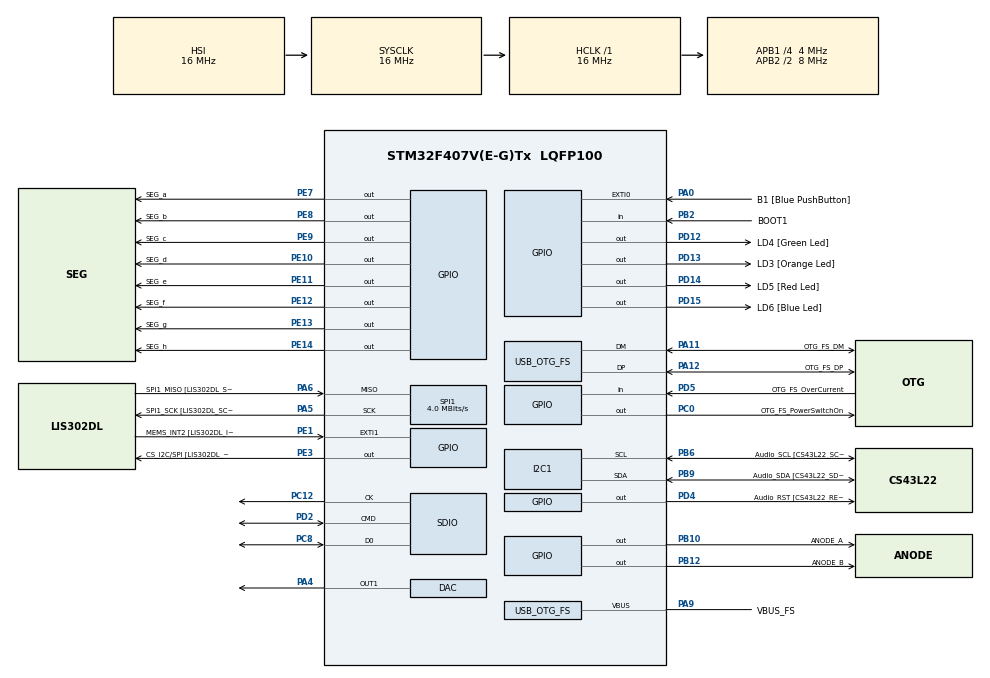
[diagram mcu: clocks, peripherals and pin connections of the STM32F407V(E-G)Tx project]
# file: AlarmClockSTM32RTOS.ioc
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DAC.DAC_Trigger=DAC_TRIGGER_T6_TRGO
Dma.DAC1.0.Direction=DMA_MEMORY_TO_PERIPH
Dma.DAC1.0.FIFOMode=DMA_FIFOMODE_DISABLE
Dma.DAC1.0.Instance=DMA1_Stream5
Dma.DAC1.0.MemDataAlignment=DMA_MDATAALIGN_HALFWORD
Dma.DAC1.0.MemInc=DMA_MINC_ENABLE
Dma.DAC1.0.Mode=DMA_CIRCULAR
Dma.DAC1.0.PeriphDataAlignment=DMA_PDATAALIGN_HALFWORD
Dma.DAC1.0.PeriphInc=DMA_PINC_DISABLE
Dma.DAC1.0.Priority=DMA_PRIORITY_LOW
Dma.Request0=DAC1
FREERTOS.Tasks01=defaultTask,0,128,StartDefaultTask,Default,NULL
FREERTOS.configUSE_TIMERS=1
Mcu.Family=STM32F4
Mcu.Name=STM32F407V(E-G)Tx
Mcu.Package=LQFP100
NVIC.DMA1_Stream5_IRQn=true\:5\:0\:false\:false\:true\:true\:false
NVIC.OTG_FS_IRQn=true\:5\:0\:false\:false\:true\:true\:true
NVIC.PriorityGroup=NVIC_PRIORITYGROUP_4
NVIC.TIM1_UP_TIM10_IRQn=true\:0\:0\:false\:false\:true\:false\:false
NVIC.TimeBase=TIM1_UP_TIM10_IRQn
NVIC.TimeBaseIP=TIM1
PA0-WKUP.GPIO_Label=B1 [Blue PushButton]
PA0-WKUP.GPIO_ModeDefaultEXTI=GPIO_MODE_EVT_RISING
PA0-WKUP.GPIO_PuPd=GPIO_NOPULL
PA0-WKUP.Signal=GPXTI0
PA10.GPIO_Label=OTG_FS_ID
PA10.GPIO_Mode=GPIO_MODE_AF_PP
PA10.GPIO_PuPd=GPIO_NOPULL
PA10.GPIO_Speed=GPIO_SPEED_FREQ_LOW
PA10.Signal=USB_OTG_FS_ID
PA11.GPIO_Label=OTG_FS_DM
PA11.GPIO_Mode=GPIO_MODE_AF_PP
PA11.GPIO_PuPd=GPIO_NOPULL
PA11.GPIO_Speed=GPIO_SPEED_FREQ_LOW
PA11.Mode=Host_Only
PA11.Signal=USB_OTG_FS_DM
PA12.GPIO_Label=OTG_FS_DP
PA12.GPIO_Mode=GPIO_MODE_AF_PP
PA12.GPIO_PuPd=GPIO_NOPULL
PA12.GPIO_Speed=GPIO_SPEED_FREQ_LOW
PA12.Mode=Host_Only
PA12.Signal=USB_OTG_FS_DP
PA13.GPIO_Label=SWDIO
PA13.Mode=Serial_Wire
PA13.Signal=SYS_JTMS-SWDIO
PA14.GPIO_Label=SWCLK
PA14.Mode=Serial_Wire
PA14.Signal=SYS_JTCK-SWCLK
PA4.Signal=SharedAnalog_PA4
PA5.GPIO_Label=SPI1_SCK [LIS302DL_SCL/SPC]
PA5.GPIO_Mode=GPIO_MODE_AF_PP
PA5.GPIO_PuPd=GPIO_NOPULL
PA5.GPIO_Speed=GPIO_SPEED_FREQ_LOW
PA5.Mode=RX_Only_Simplex_Unidirect_Master
PA5.Signal=SPI1_SCK
PA6.GPIO_Label=SPI1_MISO [LIS302DL_SDO]
PA6.GPIO_Mode=GPIO_MODE_AF_PP
PA6.GPIO_PuPd=GPIO_NOPULL
PA6.GPIO_Speed=GPIO_SPEED_FREQ_LOW
PA6.Mode=RX_Only_Simplex_Unidirect_Master
PA6.Signal=SPI1_MISO
PA7.GPIO_Label=SPI1_MOSI [LIS302DL_SDA/SDI/SDO]
PA7.GPIO_Mode=GPIO_MODE_AF_PP
PA7.GPIO_PuPd=GPIO_NOPULL
PA7.GPIO_Speed=GPIO_SPEED_FREQ_LOW
PA7.Signal=SPI1_MOSI
PA9.GPIO_Label=VBUS_FS
PA9.GPIO_Mode=GPIO_MODE_INPUT
PA9.GPIO_PuPd=GPIO_NOPULL
PA9.Mode=Activate_VBUS
PA9.Signal=USB_OTG_FS_VBUS
PB10.GPIO_Label=ANODE_A
PB10.Signal=GPIO_Output
PB12.GPIO_Label=ANODE_B
PB12.Signal=GPIO_Output
PB2.GPIO_Label=BOOT1
PB2.GPIO_Mode=GPIO_MODE_INPUT
PB2.GPIO_PuPd=GPIO_NOPULL
PB2.Signal=GPIO_Input
PB3.GPIO_Label=SWO
PB3.Signal=SYS_JTDO-SWO
PB6.GPIO_Label=Audio_SCL [CS43L22_SCL]
PB6.GPIO_Mode=GPIO_MODE_AF_OD
PB6.GPIO_PuPd=GPIO_NOPULL
PB6.GPIO_Speed=GPIO_SPEED_FREQ_LOW
PB6.Mode=I2C
PB6.Signal=I2C1_SCL
PB9.GPIO_Label=Audio_SDA [CS43L22_SDA]
PB9.GPIO_Mode=GPIO_MODE_AF_OD
PB9.GPIO_PuPd=GPIO_NOPULL
PB9.GPIO_Speed=GPIO_SPEED_FREQ_LOW
PB9.Mode=I2C
PB9.Signal=I2C1_SDA
PC0.GPIO_Label=OTG_FS_PowerSwitchOn
PC0.GPIO_PuPd=GPIO_NOPULL
PC0.GPIO_Speed=GPIO_SPEED_FREQ_LOW
PC0.PinState=GPIO_PIN_SET
PC0.Signal=GPIO_Output
PC12.Mode=SD_1_bit
PC12.Signal=SDIO_CK
PC3.GPIO_Label=PDM_OUT [MP45DT02_DOUT]
PC3.GPIO_Mode=GPIO_MODE_AF_PP
PC3.GPIO_PuPd=GPIO_NOPULL
PC3.GPIO_Speed=GPIO_SPEED_FREQ_LOW
PC3.Signal=I2S2_SD
PC7.GPIO_Label=I2S3_MCK [CS43L22_MCLK]
PC7.GPIO_Mode=GPIO_MODE_AF_PP
PC7.GPIO_PuPd=GPIO_NOPULL
PC7.GPIO_Speed=GPIO_SPEED_FREQ_LOW
PC7.Signal=I2S3_MCK
PC8.Mode=SD_1_bit
PC8.Signal=SDIO_D0
PD12.GPIO_Label=LD4 [Green Led]
PD12.GPIO_PuPd=GPIO_NOPULL
PD12.GPIO_Speed=GPIO_SPEED_FREQ_LOW
PD12.Signal=GPIO_Output
PD13.GPIO_Label=LD3 [Orange Led]
PD13.GPIO_PuPd=GPIO_NOPULL
PD13.GPIO_Speed=GPIO_SPEED_FREQ_LOW
PD13.Signal=GPIO_Output
PD14.GPIO_Label=LD5 [Red Led]
PD14.GPIO_PuPd=GPIO_NOPULL
PD14.GPIO_Speed=GPIO_SPEED_FREQ_LOW
PD14.Signal=GPIO_Output
PD15.GPIO_Label=LD6 [Blue Led]
PD15.GPIO_PuPd=GPIO_NOPULL
PD15.GPIO_Speed=GPIO_SPEED_FREQ_LOW
PD15.Signal=GPIO_Output
PD2.Mode=SD_1_bit
PD2.Signal=SDIO_CMD
PD4.GPIO_Label=Audio_RST [CS43L22_RESET]
PD4.GPIO_PuPd=GPIO_NOPULL
PD4.GPIO_Speed=GPIO_SPEED_FREQ_LOW
PD4.Signal=GPIO_Output
PD5.GPIO_Label=OTG_FS_OverCurrent
PD5.GPIO_Mode=GPIO_MODE_INPUT
PD5.GPIO_PuPd=GPIO_NOPULL
PD5.Signal=GPIO_Input
PE1.GPIO_Label=MEMS_INT2 [LIS302DL_INT2]
PE1.GPIO_ModeDefaultEXTI=GPIO_MODE_EVT_RISING
PE1.GPIO_PuPd=GPIO_NOPULL
PE1.Signal=GPXTI1
PE10.GPIO_Label=SEG_d
PE10.Signal=GPIO_Output
PE11.GPIO_Label=SEG_e
PE11.Signal=GPIO_Output
PE12.GPIO_Label=SEG_f
PE12.Signal=GPIO_Output
PE13.GPIO_Label=SEG_g
PE13.Signal=GPIO_Output
PE14.GPIO_Label=SEG_h
PE14.Signal=GPIO_Output
PE3.GPIO_Label=CS_I2C/SPI [LIS302DL_CS_I2C/SPI]
PE3.GPIO_PuPd=GPIO_NOPULL
PE3.GPIO_Speed=GPIO_SPEED_FREQ_LOW
PE3.Signal=GPIO_Output
PE7.GPIO_Label=SEG_a
PE7.Signal=GPIO_Output
PE8.GPIO_Label=SEG_b
PE8.Signal=GPIO_Output
PE9.GPIO_Label=SEG_c
PE9.Signal=GPIO_Output
PH0-OSC_IN.Mode=HSE-External-Oscillator
PH0-OSC_IN.Signal=RCC_OSC_IN
PH1-OSC_OUT.GPIO_Label=PH1-OSC_OUT
PH1-OSC_OUT.Mode=HSE-External-Oscillator
PH1-OSC_OUT.Signal=RCC_OSC_OUT
ProjectManager.HeapSize=0x200
ProjectManager.StackSize=0x400
ProjectManager.TargetToolchain=TrueSTUDIO
RCC.48MHZClocksFreq_Value=48000000
RCC.AHBFreq_Value=16000000
RCC.APB1CLKDivider=RCC_HCLK_DIV4
RCC.APB1Freq_Value=4000000
RCC.APB1TimFreq_Value=8000000
RCC.APB2CLKDivider=RCC_HCLK_DIV2
RCC.APB2Freq_Value=8000000
RCC.APB2TimFreq_Value=16000000
RCC.CortexFreq_Value=16000000
RCC.HCLKFreq_Value=16000000
RCC.HSE_VALUE=8000000
RCC.HSI_VALUE=16000000
RCC.LSE_VALUE=32768
RCC.PLLM=4
RCC.PLLN=72
RCC.PLLQ=3
RCC.SYSCLKFreq_VALUE=16000000
RCC.VCOOutputFreq_Value=144000000
SH.SharedAnalog_PA4.0=GPIO_Analog
SH.SharedAnalog_PA4.1=DAC_OUT1,DAC_OUT1
SPI1.BaudRatePrescaler=SPI_BAUDRATEPRESCALER_2
SPI1.CalculateBaudRate=4.0 MBits/s
SPI1.Direction=SPI_DIRECTION_2LINES_RXONLY
SPI1.Mode=SPI_MODE_MASTER
SPI1.VirtualType=VM_MASTER
TIM6.Period=32768
TIM6.TIM_MasterOutputTrigger=TIM_TRGO_UPDATE
USB_HOST.BSP.number=1
USB_HOST.USBH_HandleTypeDef-MSC_FS=hUsbHostFS
USB_HOST.VirtualModeFS=Msc
USB_HOST0.BSP.STBoard=false
USB_HOST0.BSP.api=UnknownBspDriver
USB_HOST0.BSP.i2caddr=0
USB_HOST0.BSP.i2creg=0
USB_HOST0.BSP.instance=PC0
USB_HOST0.BSP.ip=GPIO
USB_HOST0.BSP.mode=Output
USB_HOST0.BSP.name=Drive_VBUS_FS
USB_HOST0.BSP.solution=PC0
USB_OTG_FS.VirtualMode=Host_Only
USB_OTG_FS.phy_itface=HCD_PHY_EMBEDDED
VP_FATFS_VS_SDIO.Mode=SDIO
VP_FATFS_VS_USB.Mode=USB
VP_FREERTOS_VS_ENABLE.Mode=Enabled
VP_RTC_VS_RTC_Activate.Mode=RTC_Enabled
VP_SYS_VS_tim1.Mode=TIM1
VP_TIM6_VS_ClockSourceINT.Mode=Enable_Timer
VP_USB_HOST_VS_USB_HOST_MSC_FS.Mode=MSC_FS
board=STM32F4DISCOVERY

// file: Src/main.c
/**
  ******************************************************************************
  * @file           : main.c
  * @brief          : Main program body
  ******************************************************************************
  * This notice applies to any and all portions of this file
  * that are not between comment pairs USER CODE BEGIN and
  * USER CODE END. Other portions of this file, whether
  * inserted by the user or by software development tools
  * are owned by their respective copyright owners.
  *
  * Copyright (c) 2018 STMicroelectronics International N.V.
  * All rights reserved.
  *
  * Redistribution and use in source and binary forms, with or without
  * modification, are permitted, provided that the following conditions are met:
  *
  * 1. Redistribution of source code must retain the above copyright notice,
  *    this list of conditions and the following disclaimer.
  * 2. Redistributions in binary form must reproduce the above copyright notice,
  *    this list of conditions and the following disclaimer in the documentation
  *    and/or other materials provided with the distribution.
  * 3. Neither the name of STMicroelectronics nor the names of other
  *    contributors to this software may be used to endorse or promote products
  *    derived from this software without specific written permission.
  * 4. This software, including modifications and/or derivative works of this
  *    software, must execute solely and exclusively on microcontroller or
  *    microprocessor devices manufactured by or for STMicroelectronics.
  * 5. Redistribution and use of this software other than as permitted under
  *    this license is void and will automatically terminate your rights under
  *    this license.
  *
  * THIS SOFTWARE IS PROVIDED BY STMICROELECTRONICS AND CONTRIBUTORS "AS IS"
  * AND ANY EXPRESS, IMPLIED OR STATUTORY WARRANTIES, INCLUDING, BUT NOT
  * LIMITED TO, THE IMPLIED WARRANTIES OF MERCHANTABILITY, FITNESS FOR A
  * PARTICULAR PURPOSE AND NON-INFRINGEMENT OF THIRD PARTY INTELLECTUAL PROPERTY
  * RIGHTS ARE DISCLAIMED TO THE FULLEST EXTENT PERMITTED BY LAW. IN NO EVENT
  * SHALL STMICROELECTRONICS OR CONTRIBUTORS BE LIABLE FOR ANY DIRECT, INDIRECT,
  * INCIDENTAL, SPECIAL, EXEMPLARY, OR CONSEQUENTIAL DAMAGES (INCLUDING, BUT NOT
  * LIMITED TO, PROCUREMENT OF SUBSTITUTE GOODS OR SERVICES; LOSS OF USE, DATA,
  * OR PROFITS; OR BUSINESS INTERRUPTION) HOWEVER CAUSED AND ON ANY THEORY OF
  * LIABILITY, WHETHER IN CONTRACT, STRICT LIABILITY, OR TORT (INCLUDING
  * NEGLIGENCE OR OTHERWISE) ARISING IN ANY WAY OUT OF THE USE OF THIS SOFTWARE,
  * EVEN IF ADVISED OF THE POSSIBILITY OF SUCH DAMAGE.
  *
  ******************************************************************************
  */
#include "main.h"
#include "stm32f4xx_hal.h"
#include "cmsis_os.h"
#include "fatfs.h"
#include "usb_host.h"

DAC_HandleTypeDef hdac;
DMA_HandleTypeDef hdma_dac1;

I2C_HandleTypeDef hi2c1;

RTC_HandleTypeDef hrtc;

SD_HandleTypeDef hsd;

SPI_HandleTypeDef hspi1;

TIM_HandleTypeDef htim6;

osThreadId defaultTaskHandle;

/* USER CODE BEGIN PV */
/* Private variables ---------------------------------------------------------*/
const uint16_t sine_wave_array[32] = {2047, 1648, 1264, 910, 600,  345,
                    156, 39,  0,  39,  156,  345,
                    600, 910, 1264, 1648, 2048, 2447,
                    2831, 3185, 3495, 3750, 3939, 4056,
                    4095, 4056, 3939, 3750, 3495, 3185,
                    2831, 2447};
/* USER CODE END PV */

void SystemClock_Config(void);
static void MX_GPIO_Init(void);
static void MX_DMA_Init(void);
static void MX_I2C1_Init(void);
static void MX_RTC_Init(void);
static void MX_SPI1_Init(void);
static void MX_SDIO_SD_Init(void);
static void MX_DAC_Init(void);
static void MX_TIM6_Init(void);
void StartDefaultTask(void const * argument);

/* USER CODE BEGIN PFP */
void soundTest(void *pvParameters);

/* Private function prototypes -----------------------------------------------*/

/* USER CODE END PFP */

int main(void)
{

  /* MCU Configuration----------------------------------------------------------*/

  /* Reset of all peripherals, Initializes the Flash interface and the Systick. */
  HAL_Init();

  /* Configure the system clock */
  SystemClock_Config();

  /* Initialize all configured peripherals */
  MX_GPIO_Init();
  MX_DMA_Init();
  MX_I2C1_Init();
  MX_RTC_Init();
  MX_SPI1_Init();
  MX_SDIO_SD_Init();
  MX_TIM6_Init();
  MX_DAC_Init();
  /* USER CODE BEGIN 2 */

  xTaskCreate(soundTest,(const char* const) "sound test",1024,0,1,0);
  HAL_TIM_Base_Start(&htim6); // setup the timer 6 base
  HAL_DAC_Start(&hdac,DAC_CHANNEL_1); // setup the DAC on channel 1 (PA4)
  HAL_DAC_Start_DMA(&hdac, DAC_CHANNEL_1, (uint32_t*) sine_wave_array, 32, DAC_ALIGN_12B_R);
  /* USER CODE END 2 */

  /* Create the thread(s) */
  /* definition and creation of defaultTask */
  osThreadDef(defaultTask, StartDefaultTask, osPriorityNormal, 0, 128);
  defaultTaskHandle = osThreadCreate(osThread(defaultTask), NULL);

  /* Start scheduler */
  osKernelStart();

  /* We should never get here as control is now taken by the scheduler */

  /* Infinite loop */
  while (1)
  {

  }

}

void SystemClock_Config(void)
{

  RCC_OscInitTypeDef RCC_OscInitStruct;
  RCC_ClkInitTypeDef RCC_ClkInitStruct;
  RCC_PeriphCLKInitTypeDef PeriphClkInitStruct;

    /**Configure the main internal regulator output voltage
    */
  __HAL_RCC_PWR_CLK_ENABLE();

  __HAL_PWR_VOLTAGESCALING_CONFIG(PWR_REGULATOR_VOLTAGE_SCALE1);

    /**Initializes the CPU, AHB and APB busses clocks
    */
  RCC_OscInitStruct.OscillatorType = RCC_OSCILLATORTYPE_HSI|RCC_OSCILLATORTYPE_LSI
                              |RCC_OSCILLATORTYPE_HSE;
  RCC_OscInitStruct.HSEState = RCC_HSE_ON;
  RCC_OscInitStruct.HSIState = RCC_HSI_ON;
  RCC_OscInitStruct.HSICalibrationValue = 16;
  RCC_OscInitStruct.LSIState = RCC_LSI_ON;
  RCC_OscInitStruct.PLL.PLLState = RCC_PLL_ON;
  RCC_OscInitStruct.PLL.PLLSource = RCC_PLLSOURCE_HSE;
  RCC_OscInitStruct.PLL.PLLM = 4;
  RCC_OscInitStruct.PLL.PLLN = 72;
  RCC_OscInitStruct.PLL.PLLP = RCC_PLLP_DIV2;
  RCC_OscInitStruct.PLL.PLLQ = 3;
  if (HAL_RCC_OscConfig(&RCC_OscInitStruct) != HAL_OK)
  {
    _Error_Handler(__FILE__, __LINE__);
  }

    /**Initializes the CPU, AHB and APB busses clocks
    */
  RCC_ClkInitStruct.ClockType = RCC_CLOCKTYPE_HCLK|RCC_CLOCKTYPE_SYSCLK
                              |RCC_CLOCKTYPE_PCLK1|RCC_CLOCKTYPE_PCLK2;
  RCC_ClkInitStruct.SYSCLKSource = RCC_SYSCLKSOURCE_HSI;
  RCC_ClkInitStruct.AHBCLKDivider = RCC_SYSCLK_DIV1;
  RCC_ClkInitStruct.APB1CLKDivider = RCC_HCLK_DIV4;
  RCC_ClkInitStruct.APB2CLKDivider = RCC_HCLK_DIV2;

  if (HAL_RCC_ClockConfig(&RCC_ClkInitStruct, FLASH_LATENCY_0) != HAL_OK)
  {
    _Error_Handler(__FILE__, __LINE__);
  }

  PeriphClkInitStruct.PeriphClockSelection = RCC_PERIPHCLK_RTC;
  PeriphClkInitStruct.RTCClockSelection = RCC_RTCCLKSOURCE_LSI;
  if (HAL_RCCEx_PeriphCLKConfig(&PeriphClkInitStruct) != HAL_OK)
  {
    _Error_Handler(__FILE__, __LINE__);
  }

    /**Configure the Systick interrupt time
    */
  HAL_SYSTICK_Config(HAL_RCC_GetHCLKFreq()/1000);

    /**Configure the Systick
    */
  HAL_SYSTICK_CLKSourceConfig(SYSTICK_CLKSOURCE_HCLK);

  /* SysTick_IRQn interrupt configuration */
  HAL_NVIC_SetPriority(SysTick_IRQn, 15, 0);
}

/* DAC init function */
static void MX_DAC_Init(void)
{

  DAC_ChannelConfTypeDef sConfig;

    /**DAC Initialization
    */
  hdac.Instance = DAC;
  if (HAL_DAC_Init(&hdac) != HAL_OK)
  {
    _Error_Handler(__FILE__, __LINE__);
  }

    /**DAC channel OUT1 config
    */
  sConfig.DAC_Trigger = DAC_TRIGGER_T6_TRGO;
  sConfig.DAC_OutputBuffer = DAC_OUTPUTBUFFER_ENABLE;
  if (HAL_DAC_ConfigChannel(&hdac, &sConfig, DAC_CHANNEL_1) != HAL_OK)
  {
    _Error_Handler(__FILE__, __LINE__);
  }

}

/* I2C1 init function */
static void MX_I2C1_Init(void)
{

  hi2c1.Instance = I2C1;
  hi2c1.Init.ClockSpeed = 100000;
  hi2c1.Init.DutyCycle = I2C_DUTYCYCLE_2;
  hi2c1.Init.OwnAddress1 = 0;
  hi2c1.Init.AddressingMode = I2C_ADDRESSINGMODE_7BIT;
  hi2c1.Init.DualAddressMode = I2C_DUALADDRESS_DISABLE;
  hi2c1.Init.OwnAddress2 = 0;
  hi2c1.Init.GeneralCallMode = I2C_GENERALCALL_DISABLE;
  hi2c1.Init.NoStretchMode = I2C_NOSTRETCH_DISABLE;
  if (HAL_I2C_Init(&hi2c1) != HAL_OK)
  {
    _Error_Handler(__FILE__, __LINE__);
  }

}

/* RTC init function */
static void MX_RTC_Init(void)
{

    /**Initialize RTC Only
    */
  hrtc.Instance = RTC;
  hrtc.Init.HourFormat = RTC_HOURFORMAT_24;
  hrtc.Init.AsynchPrediv = 127;
  hrtc.Init.SynchPrediv = 255;
  hrtc.Init.OutPut = RTC_OUTPUT_DISABLE;
  hrtc.Init.OutPutPolarity = RTC_OUTPUT_POLARITY_HIGH;
  hrtc.Init.OutPutType = RTC_OUTPUT_TYPE_OPENDRAIN;
  if (HAL_RTC_Init(&hrtc) != HAL_OK)
  {
    _Error_Handler(__FILE__, __LINE__);
  }

}

/* SDIO init function */
static void MX_SDIO_SD_Init(void)
{

  hsd.Instance = SDIO;
  hsd.Init.ClockEdge = SDIO_CLOCK_EDGE_RISING;
  hsd.Init.ClockBypass = SDIO_CLOCK_BYPASS_DISABLE;
  hsd.Init.ClockPowerSave = SDIO_CLOCK_POWER_SAVE_DISABLE;
  hsd.Init.BusWide = SDIO_BUS_WIDE_1B;
  hsd.Init.HardwareFlowControl = SDIO_HARDWARE_FLOW_CONTROL_DISABLE;
  hsd.Init.ClockDiv = 0;

}

/* SPI1 init function */
static void MX_SPI1_Init(void)
{

  /* SPI1 parameter configuration*/
  hspi1.Instance = SPI1;
  hspi1.Init.Mode = SPI_MODE_MASTER;
  hspi1.Init.Direction = SPI_DIRECTION_2LINES_RXONLY;
  hspi1.Init.DataSize = SPI_DATASIZE_8BIT;
  hspi1.Init.CLKPolarity = SPI_POLARITY_LOW;
  hspi1.Init.CLKPhase = SPI_PHASE_1EDGE;
  hspi1.Init.NSS = SPI_NSS_SOFT;
  hspi1.Init.BaudRatePrescaler = SPI_BAUDRATEPRESCALER_2;
  hspi1.Init.FirstBit = SPI_FIRSTBIT_MSB;
  hspi1.Init.TIMode = SPI_TIMODE_DISABLE;
  hspi1.Init.CRCCalculation = SPI_CRCCALCULATION_DISABLE;
  hspi1.Init.CRCPolynomial = 10;
  if (HAL_SPI_Init(&hspi1) != HAL_OK)
  {
    _Error_Handler(__FILE__, __LINE__);
  }

}

/* TIM6 init function */
static void MX_TIM6_Init(void)
{

  TIM_MasterConfigTypeDef sMasterConfig;

  htim6.Instance = TIM6;
  htim6.Init.Prescaler = 0;
  htim6.Init.CounterMode = TIM_COUNTERMODE_UP;
  htim6.Init.Period = 32768;
  if (HAL_TIM_Base_Init(&htim6) != HAL_OK)
  {
    _Error_Handler(__FILE__, __LINE__);
  }

  sMasterConfig.MasterOutputTrigger = TIM_TRGO_UPDATE;
  sMasterConfig.MasterSlaveMode = TIM_MASTERSLAVEMODE_DISABLE;
  if (HAL_TIMEx_MasterConfigSynchronization(&htim6, &sMasterConfig) != HAL_OK)
  {
    _Error_Handler(__FILE__, __LINE__);
  }

}

static void MX_DMA_Init(void)
{
  /* DMA controller clock enable */
  __HAL_RCC_DMA1_CLK_ENABLE();

  /* DMA interrupt init */
  /* DMA1_Stream5_IRQn interrupt configuration */
  HAL_NVIC_SetPriority(DMA1_Stream5_IRQn, 5, 0);
  HAL_NVIC_EnableIRQ(DMA1_Stream5_IRQn);

}

/** Configure pins as
        * Analog
        * Input
        * Output
        * EVENT_OUT
        * EXTI
     PC3   ------> I2S2_SD
     PA4   ------> SharedAnalog_PA4
     PC7   ------> I2S3_MCK
*/
static void MX_GPIO_Init(void)
{

  GPIO_InitTypeDef GPIO_InitStruct;

  /* GPIO Ports Clock Enable */
  __HAL_RCC_GPIOE_CLK_ENABLE();
  __HAL_RCC_GPIOH_CLK_ENABLE();
  __HAL_RCC_GPIOC_CLK_ENABLE();
  __HAL_RCC_GPIOA_CLK_ENABLE();
  __HAL_RCC_GPIOB_CLK_ENABLE();
  __HAL_RCC_GPIOD_CLK_ENABLE();

  /*Configure GPIO pin Output Level */
  HAL_GPIO_WritePin(GPIOE, CS_I2C_SPI_Pin|SEG_a_Pin|SEG_b_Pin|SEG_c_Pin
                          |SEG_d_Pin|SEG_e_Pin|SEG_f_Pin|SEG_g_Pin
                          |SEG_h_Pin, GPIO_PIN_RESET);

  /*Configure GPIO pin Output Level */
  HAL_GPIO_WritePin(OTG_FS_PowerSwitchOn_GPIO_Port, OTG_FS_PowerSwitchOn_Pin, GPIO_PIN_SET);

  /*Configure GPIO pin Output Level */
  HAL_GPIO_WritePin(GPIOB, ANODE_A_Pin|ANODE_B_Pin, GPIO_PIN_RESET);

  /*Configure GPIO pin Output Level */
  HAL_GPIO_WritePin(GPIOD, LD4_Pin|LD3_Pin|LD5_Pin|LD6_Pin
                          |Audio_RST_Pin, GPIO_PIN_RESET);

  /*Configure GPIO pins : CS_I2C_SPI_Pin SEG_a_Pin SEG_b_Pin SEG_c_Pin
                           SEG_d_Pin SEG_e_Pin SEG_f_Pin SEG_g_Pin
                           SEG_h_Pin */
  GPIO_InitStruct.Pin = CS_I2C_SPI_Pin|SEG_a_Pin|SEG_b_Pin|SEG_c_Pin
                          |SEG_d_Pin|SEG_e_Pin|SEG_f_Pin|SEG_g_Pin
                          |SEG_h_Pin;
  GPIO_InitStruct.Mode = GPIO_MODE_OUTPUT_PP;
  GPIO_InitStruct.Pull = GPIO_NOPULL;
  GPIO_InitStruct.Speed = GPIO_SPEED_FREQ_LOW;
  HAL_GPIO_Init(GPIOE, &GPIO_InitStruct);

  /*Configure GPIO pin : OTG_FS_PowerSwitchOn_Pin */
  GPIO_InitStruct.Pin = OTG_FS_PowerSwitchOn_Pin;
  GPIO_InitStruct.Mode = GPIO_MODE_OUTPUT_PP;
  GPIO_InitStruct.Pull = GPIO_NOPULL;
  GPIO_InitStruct.Speed = GPIO_SPEED_FREQ_LOW;
  HAL_GPIO_Init(OTG_FS_PowerSwitchOn_GPIO_Port, &GPIO_InitStruct);

  /*Configure GPIO pin : PDM_OUT_Pin */
  GPIO_InitStruct.Pin = PDM_OUT_Pin;
  GPIO_InitStruct.Mode = GPIO_MODE_AF_PP;
  GPIO_InitStruct.Pull = GPIO_NOPULL;
  GPIO_InitStruct.Speed = GPIO_SPEED_FREQ_LOW;
  GPIO_InitStruct.Alternate = GPIO_AF5_SPI2;
  HAL_GPIO_Init(PDM_OUT_GPIO_Port, &GPIO_InitStruct);

  /*Configure GPIO pin : B1_Pin */
  GPIO_InitStruct.Pin = B1_Pin;
  GPIO_InitStruct.Mode = GPIO_MODE_EVT_RISING;
  GPIO_InitStruct.Pull = GPIO_NOPULL;
  HAL_GPIO_Init(B1_GPIO_Port, &GPIO_InitStruct);

  /*Configure GPIO pin : PA4 */
  GPIO_InitStruct.Pin = GPIO_PIN_4;
  GPIO_InitStruct.Mode = GPIO_MODE_ANALOG;
  GPIO_InitStruct.Pull = GPIO_NOPULL;
  HAL_GPIO_Init(GPIOA, &GPIO_InitStruct);

  /*Configure GPIO pin : BOOT1_Pin */
  GPIO_InitStruct.Pin = BOOT1_Pin;
  GPIO_InitStruct.Mode = GPIO_MODE_INPUT;
  GPIO_InitStruct.Pull = GPIO_NOPULL;
  HAL_GPIO_Init(BOOT1_GPIO_Port, &GPIO_InitStruct);

  /*Configure GPIO pins : ANODE_A_Pin ANODE_B_Pin */
  GPIO_InitStruct.Pin = ANODE_A_Pin|ANODE_B_Pin;
  GPIO_InitStruct.Mode = GPIO_MODE_OUTPUT_PP;
  GPIO_InitStruct.Pull = GPIO_NOPULL;
  GPIO_InitStruct.Speed = GPIO_SPEED_FREQ_LOW;
  HAL_GPIO_Init(GPIOB, &GPIO_InitStruct);

  /*Configure GPIO pins : LD4_Pin LD3_Pin LD5_Pin LD6_Pin
                           Audio_RST_Pin */
  GPIO_InitStruct.Pin = LD4_Pin|LD3_Pin|LD5_Pin|LD6_Pin
                          |Audio_RST_Pin;
  GPIO_InitStruct.Mode = GPIO_MODE_OUTPUT_PP;
  GPIO_InitStruct.Pull = GPIO_NOPULL;
  GPIO_InitStruct.Speed = GPIO_SPEED_FREQ_LOW;
  HAL_GPIO_Init(GPIOD, &GPIO_InitStruct);

  /*Configure GPIO pin : I2S3_MCK_Pin */
  GPIO_InitStruct.Pin = I2S3_MCK_Pin;
  GPIO_InitStruct.Mode = GPIO_MODE_AF_PP;
  GPIO_InitStruct.Pull = GPIO_NOPULL;
  GPIO_InitStruct.Speed = GPIO_SPEED_FREQ_LOW;
  GPIO_InitStruct.Alternate = GPIO_AF6_SPI3;
  HAL_GPIO_Init(I2S3_MCK_GPIO_Port, &GPIO_InitStruct);

  /*Configure GPIO pin : OTG_FS_OverCurrent_Pin */
  GPIO_InitStruct.Pin = OTG_FS_OverCurrent_Pin;
  GPIO_InitStruct.Mode = GPIO_MODE_INPUT;
  GPIO_InitStruct.Pull = GPIO_NOPULL;
  HAL_GPIO_Init(OTG_FS_OverCurrent_GPIO_Port, &GPIO_InitStruct);

  /*Configure GPIO pin : MEMS_INT2_Pin */
  GPIO_InitStruct.Pin = MEMS_INT2_Pin;
  GPIO_InitStruct.Mode = GPIO_MODE_EVT_RISING;
  GPIO_InitStruct.Pull = GPIO_NOPULL;
  HAL_GPIO_Init(MEMS_INT2_GPIO_Port, &GPIO_InitStruct);

}

/* USER CODE BEGIN 4 */
void soundTest(void *pvParameters){

	double *data= (double *)malloc(sizeof(double));

	while(1){
		for (int x = 0; x<32 ; x++){
			*(data+x) = (double)3.3*( (double) sine_wave_array[x] / (double)4096);
		}
		  HAL_DAC_Start_DMA(&hdac, DAC_CHANNEL_1, data, 32, DAC_ALIGN_12B_R); // setup dac on channel 1 (PA4) with sine wave array with a length of 32 and aligned to the right with 12 bits

	//	for (int x = 0; x<32 ; x++){
		//	HAL_DAC_SetValue(&hdac,DAC_CHANNEL_1,DAC_ALIGN_12B_R, 2.2 ); //((uint32_t*)sine_wave_array[x]) set the PA4 pin to the the value of sine wave array
		//}
	}

}
/* USER CODE END 4 */

/* StartDefaultTask function */
void StartDefaultTask(void const * argument)
{
  /* init code for USB_HOST */
  MX_USB_HOST_Init();

  /* init code for FATFS */
  MX_FATFS_Init();

  for(;;)
  {
    osDelay(1);
  }
}

void HAL_TIM_PeriodElapsedCallback(TIM_HandleTypeDef *htim)
{
  if (htim->Instance == TIM1) {
    HAL_IncTick();
  }
}

void _Error_Handler(char *file, int line)
{
  while(1)
  {
  }
}

/************************ (C) COPYRIGHT STMicroelectronics *****END OF FILE****/
